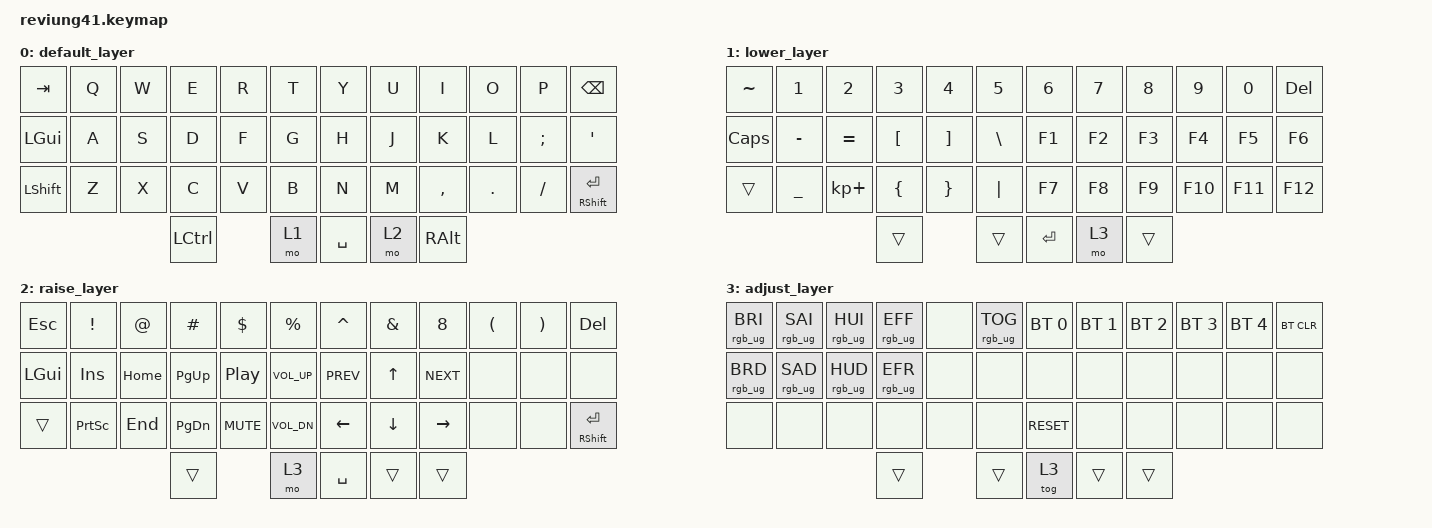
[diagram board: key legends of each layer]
/*
 * Copyright (c) 2020 The ZMK Contributors
 *
 * SPDX-License-Identifier: MIT
 */

#include <behaviors.dtsi>
#include <dt-bindings/zmk/keys.h>
#include <dt-bindings/zmk/bt.h>
#include <dt-bindings/zmk/rgb.h>

/ {
        keymap {
                compatible = "zmk,keymap";

                default_layer {
// -------------------------------------------------------------------------------------
// |  TAB |  Q  |  W  |  E  |  R  |  T  |   |  Y  |  U   |  I  |  O  |  P  |   BKSP    |
// | CAPS |  A  |  S  |  D  |  F  |  G  |   |  H  |  J   |  K  |  L  |  ;  |    '      |
// | SHFT |  Z  |  X  |  C  |  V  |  B  |   |  N  |  M   |  ,  |  .  |  /  | SHFT(RET) |
//                         | ALT | LWR | SPC | RSE  | ALT |
                        bindings = <
   &kp TAB   &kp Q &kp W &kp E &kp R &kp T   &kp Y &kp U  &kp I     &kp O   &kp P    &kp BSPC
   &kp LGUI  &kp A &kp S &kp D &kp F &kp G   &kp H &kp J  &kp K     &kp L   &kp SEMI &kp SQT
   &kp LSHFT &kp Z &kp X &kp C &kp V &kp B   &kp N &kp M  &kp COMMA &kp DOT &kp FSLH &mt RSHFT RET
                        &kp LCTRL  &mo 1 &kp SPACE &mo 2  &kp RALT
                        >;
                };

                lower_layer {
// -------------------------------------------------------------------------------
// |  ~  |  1  |  2  |  3  |  4  |  5  |     |  6  |  7  |  8  |  9  |  0  | DEL |
// |  `  |  -  |  =  |  [  |  ]  |  \  |     | F1  | F2  | F3  | F4  | F5  | F6  |
// |     |  _  |  +  |  {  |  }  | "|" |     | F7  | F8  | F9  | F10 | F11 | F12 |
//                       |     |     | RET | ADJ |     |
                        bindings = <
   &kp TILDE &kp N1    &kp N2      &kp N3    &kp N4    &kp N5      &kp N6    &kp N7    &kp N8    &kp N9    &kp N0    &kp DEL
   &kp CAPS &kp MINUS &kp EQUAL   &kp LBKT  &kp RBKT  &kp BSLH    &kp F1    &kp F2    &kp F3    &kp F4    &kp F5    &kp F6
   &trans    &kp UNDER &kp KP_PLUS &kp LBRC  &kp RBRC  &kp PIPE    &kp F7    &kp F8    &kp F9    &kp F10   &kp F11   &kp F12
                                 &trans      &trans       &kp RET        &mo 3       &trans
                        >;
                };

                raise_layer {
// -----------------------------------------------------------------------------------------
// | ESC |   !  |   @   |   #  |   $  |  %  |     |  ^  |  &  |  *  |  (  |  )  |   DEL     |
// | GUI |  INS |  HOME | PGUP |  PP  | VUP |     |     |     |  UP |     |     |           |
// |     | PRSC |  END  | PGDN | MUTE | VDN |     |     | LFT | DWN | RGT |     | SHFT(RET) |
//                       |     | ADJ | BKSP |    |     |
                        bindings = <
   &kp ESC   &kp EXCL  &kp AT   &kp HASH  &kp DLLR   &kp PRCNT      &kp CARET  &kp AMPS &kp N8     &kp LPAR  &kp RPAR &kp DEL
   &kp LGUI  &kp INS   &kp HOME &kp PG_UP &kp C_PP   &kp C_VOL_UP   &kp C_PREV &kp UP   &kp C_NEXT &none     &none    &none 
   &trans    &kp PSCRN &kp END  &kp PG_DN &kp C_MUTE &kp C_VOL_DN   &kp LEFT   &kp DOWN &kp RIGHT  &none     &none    &mt RSHFT RET
                                &trans      &mo 3       &kp SPACE       &trans      &trans
                        >;
                };

                adjust_layer {
// -----------------------------------------------------------------------------------------
// | RGB BRI+ | RGB SAT+ | RGB HUE+ | RGB ANI+ |    | RGB TOG |   |  BT1  | BT2 | BT3 | BT4 | BT5 | BT CLR |
// | RGB BRI- | RGB SAT- | RGB HUE- | RGB ANI- |    |         |   |       |     |     |     |     |        |
// |          |          |          |          |    |         |   | RESET |     |     |     |     |        |
//                                              |     |     |     |     |     |
                        bindings = <
   &rgb_ug RGB_BRI &rgb_ug RGB_SAI &rgb_ug RGB_HUI &rgb_ug RGB_EFF &none &rgb_ug RGB_TOG    &bt BT_SEL 0 &bt BT_SEL 1 &bt BT_SEL 2 &bt BT_SEL 3 &bt BT_SEL 4 &bt BT_CLR
   &rgb_ug RGB_BRD &rgb_ug RGB_SAD &rgb_ug RGB_HUD &rgb_ug RGB_EFR &none &none              &none        &none        &none        &none        &none        &none
   &none           &none           &none           &none           &none &none              &kp C_RESET       &none        &none        &none        &none        &none
                                                             &trans      &trans       &tog 3        &trans      &trans
                        >;
                };
        };
};
